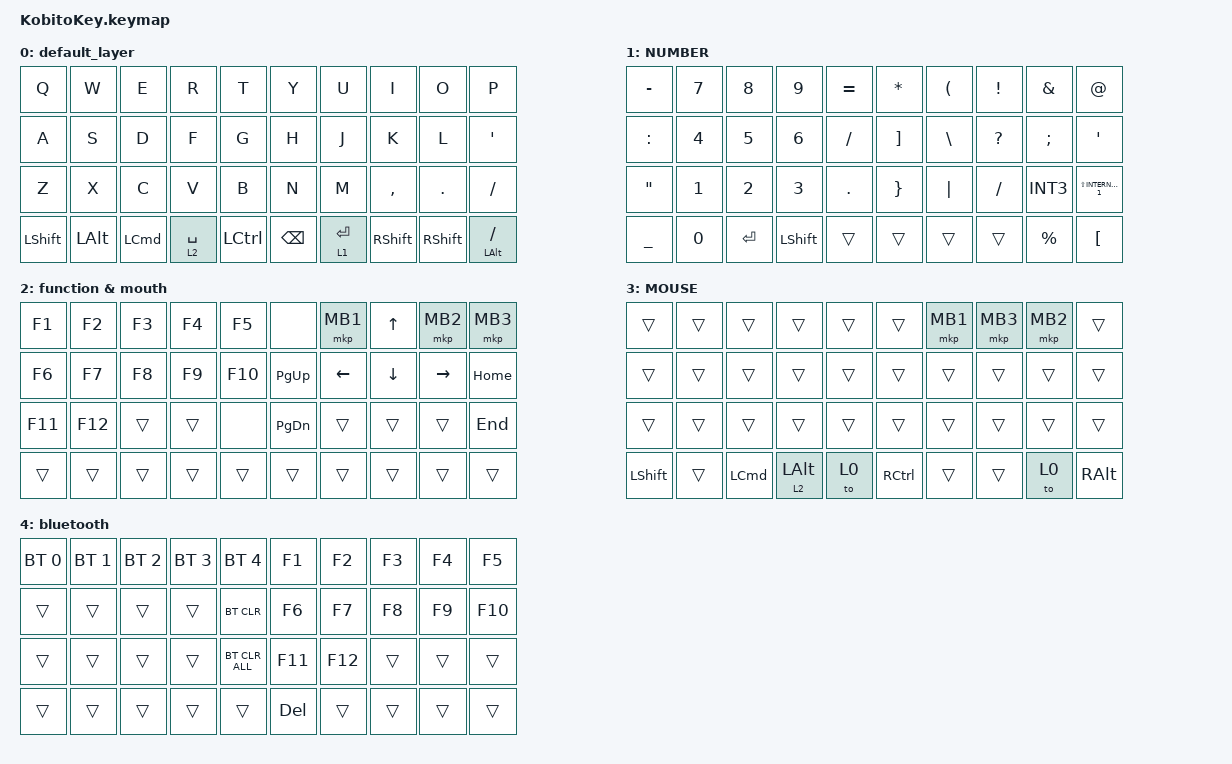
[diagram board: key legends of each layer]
#include <input/processors.dtsi>
#include <behaviors.dtsi>
#include <dt-bindings/zmk/bt.h>
#include <dt-bindings/zmk/keys.h>
#include <dt-bindings/zmk/pointing.h>

/ {
    combos {
        compatible = "zmk,combos";

        combo_eisu {
            timeout-ms = <50>;
            key-positions = <12 13>;
            bindings = <&kp LANG2>;
        };

        combo_kana {
            timeout-ms = <50>;
            key-positions = <16 17>;
            bindings = <&kp LANG1>;
        };

        combo_esc {
            timeout-ms = <50>;
            key-positions = <0 1>;
            bindings = <&kp ESC>;
        };

        combo_tab {
            timeout-ms = <50>;
            key-positions = <10 11>;
            bindings = <&kp TAB>;
        };

        layer4 {
            bindings = <&lt 4 SPACE>;
            key-positions = <5 6>;
        };

        del {
            bindings = <&kp DEL>;
            key-positions = <9 8>;
        };
    };

    keymap {
        compatible = "zmk,keymap";

        default_layer {
            bindings = <
&kp Q      &kp W     &kp E     &kp R        &kp T      &kp Y     &kp U        &kp I      &kp O      &kp P
&kp A      &kp S     &kp D     &kp F        &kp G      &kp H     &kp J        &kp K      &kp L      &kp SINGLE_QUOTE
&kp Z      &kp X     &kp C     &kp V        &kp B      &kp N     &kp M        &kp COMMA  &kp DOT    &kp SLASH
&kp LSHFT  &kp LALT  &kp LCMD  &lt 2 SPACE  &kp LCTRL  &kp BSPC  &lt 1 ENTER  &kp RSHFT  &kp RSHFT  &mt LALT SLASH
            >;
        };

        layer1 {
            label = "NUMBER";
            bindings = <
&kp MINUS          &kp N7  &kp N8        &kp N9        &kp EQUAL   &kp ASTERISK       &kp LEFT_PARENTHESIS  &kp EXCL      &kp AMPERSAND  &kp AT
&kp COLON          &kp N4  &kp N5        &kp N6        &kp SLASH   &kp RIGHT_BRACKET  &kp BACKSLASH         &kp QUESTION  &kp SEMI       &kp SINGLE_QUOTE
&kp DOUBLE_QUOTES  &kp N1  &kp NUMBER_2  &kp NUMBER_3  &kp PERIOD  &kp RIGHT_BRACE    &kp PIPE              &kp SLASH     &kp INT3       &kp LS(INTERNATIONAL_1)
&kp UNDER          &kp N0  &kp ENTER     &kp LSHFT     &trans      &trans             &trans                &trans        &kp PERCENT    &kp LEFT_BRACKET
            >;
        };

        layer2 {
            bindings = <
&kp F1   &kp F2   &kp F3  &kp F4  &kp F5   &none          &mkp MB1  &kp UP    &mkp MB2   &mkp MB3
&kp F6   &kp F7   &kp F8  &kp F9  &kp F10  &kp PAGE_UP    &kp LEFT  &kp DOWN  &kp RIGHT  &kp HOME
&kp F11  &kp F12  &trans  &trans  &none    &kp PAGE_DOWN  &trans    &trans    &trans     &kp END
&trans   &trans   &trans  &trans  &trans   &trans         &trans    &trans    &trans     &trans
            >;

            label = "function & mouth";
        };

        layer3 {
            label = "MOUSE";
            bindings = <
&trans     &trans  &trans    &trans          &trans  &trans     &mkp MB1  &mkp MB3  &mkp MB2  &trans
&trans     &trans  &trans    &trans          &trans  &trans     &trans    &trans    &trans    &trans
&trans     &trans  &trans    &trans          &trans  &trans     &trans    &trans    &trans    &trans
&kp LSHFT  &trans  &kp LCMD  &lt 2 LEFT_ALT  &to 0   &kp RCTRL  &trans    &trans    &to 0     &kp RALT
            >;
        };

        layer4 {
            label = "bluetooth";
            bindings = <
&bt BT_SEL 0  &bt BT_SEL 1  &bt BT_SEL 2  &bt BT_SEL 3  &bt BT_SEL 4    &kp F1   &kp F2   &kp F3  &kp F4  &kp F5
&trans        &trans        &trans        &trans        &bt BT_CLR      &kp F6   &kp F7   &kp F8  &kp F9  &kp F10
&trans        &trans        &trans        &trans        &bt BT_CLR_ALL  &kp F11  &kp F12  &trans  &trans  &trans
&trans        &trans        &trans        &trans        &trans          &kp DEL  &trans   &trans  &trans  &trans
            >;
        };
    };
};
